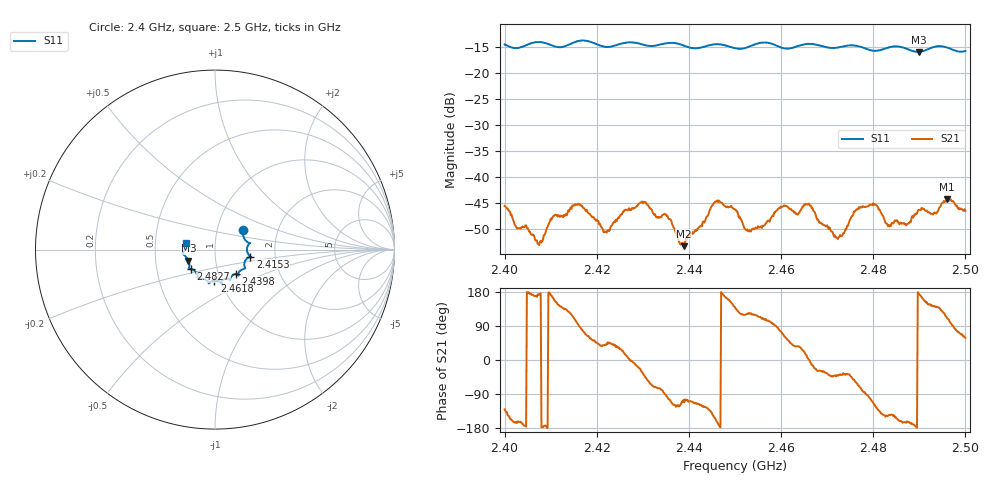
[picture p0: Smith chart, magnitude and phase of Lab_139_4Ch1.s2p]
# Hz S RI R 50
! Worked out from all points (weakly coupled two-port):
!   601 points, 2.4 GHz to 2.5 GHz, reference 50 ohm
!   highest |S21| = -44.26 dB at 2.496 GHz (marker M1); lowest = -53.3 dB at 2.4388 GHz (marker M2)
!   lowest |S11| = -15.9 dB at 2.4898 GHz (marker M3), VSWR 1.38, Z = 36.9 - j4.63 ohm
!   |S11| at or under -10 dB: start of sweep to end of sweep
!   S12 and S22 are empty: the file has one direction only
!   S11 on the Smith chart (normalised r, x): 2.4 GHz: 1.33, +0.30; 2.4153 GHz: 1.48, -0.12; 2.4398 GHz: 1.21, -0.34; 2.4618 GHz: 0.94, -0.33; 2.4827 GHz: 0.75, -0.17; 2.5 GHz: 0.72, +0.06
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2.4e9  0.1559 0.107  -0.00341 -0.00401  0 0  0 0
2.407667e9  0.1962 0.0371  -0.00236 0.000173  0 0  0 0
2.4105e9  0.1823 0.0206  -0.004 0.00115  0 0  0 0
2.415333e9  0.1962 -0.0393  -0.0015 0.00528  0 0  0 0
2.416667e9  0.2018 -0.0432  0.000825 0.00518  0 0  0 0
2.421833e9  0.1684 -0.0619  0.00225 0.00192  0 0  0 0
2.429833e9  0.155 -0.1095  0.00496 -0.00305  0 0  0 0
2.433333e9  0.13 -0.1344  0.00108 -0.00399  0 0  0 0
2.438833e9  0.1234 -0.1374  -0.000572 -0.00208  0 0  0 0
2.439833e9  0.1151 -0.136  -0.000914 -0.00252  0 0  0 0
2.445667e9  0.0836 -0.1704  -0.00519 -0.00259  0 0  0 0
2.45e9  0.0646 -0.1617  -0.00367 0.00319  0 0  0 0
2.453e9  0.0385 -0.1756  -0.00159 0.00255  0 0  0 0
2.461833e9  -0.00326 -0.1731  0.0033 0.00366  0 0  0 0
2.466667e9  -0.0349 -0.188  0.00487 -0.00112  0 0  0 0
2.472e9  -0.0707 -0.1611  0.00191 -0.00179  0 0  0 0
2.477333e9  -0.0974 -0.1503  0.00133 -0.00497  0 0  0 0
2.482667e9  -0.1349 -0.1086  -0.00311 -0.00183  0 0  0 0
2.483333e9  -0.14 -0.1082  -0.00284 -0.00193  0 0  0 0
2.489833e9  -0.1481 -0.0612  -0.00482 0.000404  0 0  0 0
2.496e9  -0.1762 -0.0151  -0.00226 0.00569  0 0  0 0
2.5e9  -0.1591 0.0386  0.00248 0.00401  0 0  0 0
